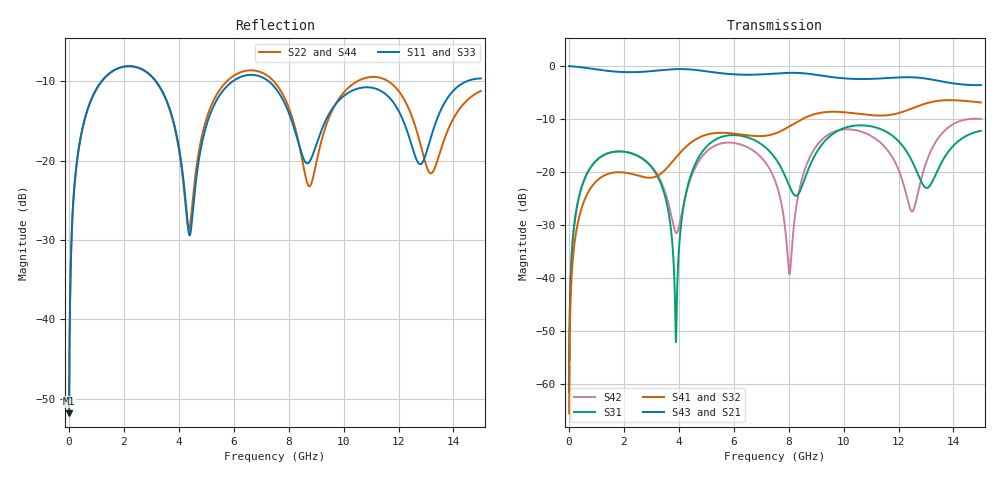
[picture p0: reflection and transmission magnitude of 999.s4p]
! Created with skrf 1.8.0 (http://scikit-rf.org).
# GHz S RI R 50.0
!freq ReS11 ImS11 ReS12 ImS12 ReS13 ImS13
! ReS14 ImS14
! ReS21 ImS21 ReS22 ImS22 ReS23 ImS23
! ReS24 ImS24
! ReS31 ImS31 ReS32 ImS32 ReS33 ImS33
! ReS34 ImS34
! ReS41 ImS41 ReS42 ImS42 ReS43 ImS43
! ReS44 ImS44
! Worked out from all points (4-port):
!   2499 points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, 5 MHz to 15 GHz, reference 50 ohm
!   strongest paths, dB at 5 MHz, 3.476 GHz, 7.19 GHz, 11.1 GHz, 15 GHz:
!     S43: 0.0, -0.7, -1.5, -2.4, -3.6
!     S21: 0.0, -0.7, -1.5, -2.4, -3.6
!     S41: -65.6, -19.7, -13.1, -9.3, -6.9
!     S32: -65.6, -19.7, -13.2, -9.4, -7.0
!     S31: -61.6, -24.1, -15.5, -11.5, -12.2
!     S42: -61.6, -23.4, -18.5, -13.5, -10.0
!   lowest |S11| = -51.8 dB at 5 MHz (marker M1), VSWR 1.01, Z = 50.2 + j0.156 ohm
!   |S11| at or under -10 dB: start of sweep to 1.195 GHz; 3.162 GHz to 5.971 GHz (2.809 GHz wide, 61.5 % of centre); 7.265 GHz to 14.5 GHz (7.234 GHz wide, 66.5 % of centre)
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0.005  0.00205 0.00155  0.9979 -0.00398  0.000105 0.000829  -0.000102 -0.000518
       0.9979 -0.00398  0.00205 0.00155  -0.000102 -0.000518  0.000105 0.000829
       0.000105 0.000829  -0.000102 -0.000518  0.00205 0.00155  0.9979 -0.00398
       -0.000102 -0.000518  0.000105 0.000829  0.9979 -0.00398  0.00205 0.00155
1.269279  0.2773 0.1744  0.5338 -0.7369  0.1316 0.0602  -0.0922 -0.00375
          0.5338 -0.7369  0.2774 0.1743  -0.0921 -0.00385  0.1316 0.0601
          0.1316 0.0602  -0.0921 -0.00385  0.2773 0.1744  0.5339 -0.7369
          -0.0922 -0.00375  0.1316 0.0601  0.5339 -0.7369  0.2773 0.1743
3.89  0.0789 -0.1312  -0.8467 -0.3969  0.00257 -0.000268  -0.0533 0.1258
      -0.8467 -0.3969  0.0789 -0.1267  -0.0545 0.1253  -0.0239 -0.0118
      0.00257 -0.000268  -0.0545 0.1253  0.0779 -0.1309  -0.8468 -0.397
      -0.0533 0.1258  -0.0239 -0.0118  -0.8468 -0.397  0.0792 -0.1257
5.002084  0.1101 0.1241  -0.8229 0.3457  0.1312 0.1126  0.1179 0.1916
          -0.8229 0.3457  0.1241 0.1335  0.116 0.1926  0.0788 0.1341
          0.1312 0.1126  0.116 0.1926  0.1095 0.1251  -0.823 0.3453
          0.1179 0.1916  0.0788 0.1341  -0.823 0.3453  0.1248 0.1331
8.7599  0.0982 0.00727  0.833 0.1329  -0.0151 0.1117  0.041 -0.3367
        0.833 0.1329  0.0685 -0.00786  0.0469 -0.3357  0.00826 0.1358
        -0.0151 0.1117  0.0469 -0.3357  0.098 0.0127  0.833 0.1334
        0.041 -0.3367  0.00826 0.1358  0.833 0.1334  0.0671 -0.00451
11.62359  0.239 -0.0845  -0.1305 -0.7599  0.1263 -0.1975  -0.3211 0.1249
          -0.1305 -0.7599  0.2903 -0.1245  -0.323 0.1157  0.1461 -0.0602
          0.1263 -0.1975  -0.323 0.1157  0.2408 -0.0842  -0.1264 -0.7609
          -0.3211 0.1249  0.1461 -0.0602  -0.1264 -0.7609  0.2884 -0.1227
15  0.3284 -0.0087  -0.3973 0.5301  0.2442 -0.0166  0.423 0.1645
    -0.3973 0.5301  0.2736 0.0134  0.4124 0.1759  0.3153 -0.0299
    0.2442 -0.0166  0.4124 0.1759  0.3421 -0.00684  -0.4027 0.5235
    0.423 0.1645  0.3153 -0.0299  -0.4027 0.5235  0.2685 0.0257
